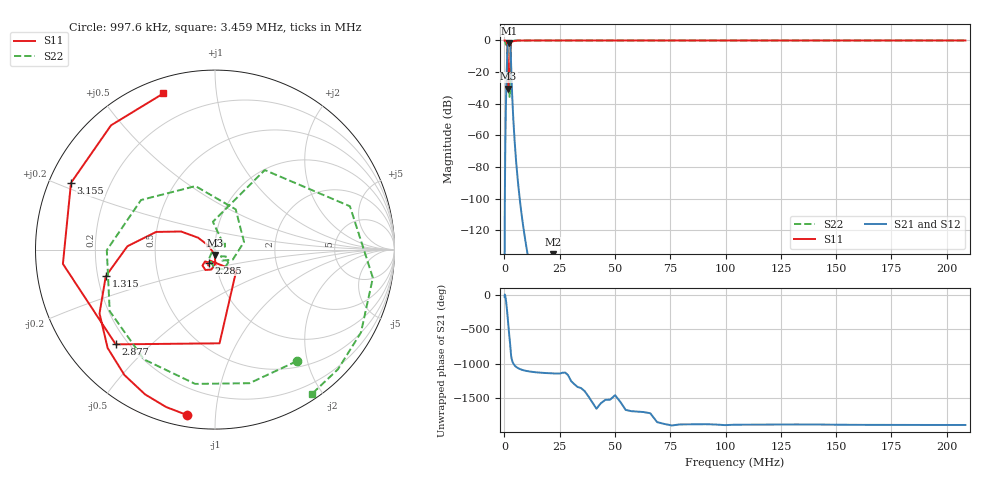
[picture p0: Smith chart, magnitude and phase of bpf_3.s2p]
! NeoRadio BPF 3: 1.7-2.5 MHz, selected in the bank
! generated_by 859cd57
# HZ S RI R 50
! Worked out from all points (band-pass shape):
!   182 points, 50 kHz to 208.4 MHz, reference 50 ohm
!   highest |S21| = -1.61 dB at 2.183 MHz (marker M1); lowest = -198.6 dB at 21.83 MHz (marker M2)
!   |S21| within 3 dB of the highest: 1.363 MHz to 2.723 MHz (1.361 MHz wide, 66.6 % of centre)
!   lowest |S11| = -30.4 dB at 1.734 MHz (marker M3), VSWR 1.06, Z = 49.7 - j2.99 ohm
!   |S11| at or under -10 dB: 1.454 MHz to 2.693 MHz (1.239 MHz wide, 59.8 % of centre)
!   |S22| runs from -35.7 to 0.0 dB; largest |S21 - S12| = 0
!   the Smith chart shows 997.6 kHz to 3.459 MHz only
!   S11 on the Smith chart (normalised r, x): 997.6 kHz: 0.06, -0.84; 1.315 MHz: 0.23, -0.11; 2.285 MHz: 0.93, -0.14; 2.877 MHz: 0.15, -0.39; 3.155 MHz: 0.06, +0.22; 3.459 MHz: 0.07, +0.72
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50000  0.9973 -0.0716  5.74e-08 -3.54e-08  5.74e-08 -3.54e-08  0.9304 -0.3538
208434.7  0.9537 -0.2958  3.11e-05 -9.47e-07  3.11e-05 -9.47e-07  0.0902 -0.9288
477496.3  0.7524 -0.6461  0.00126 -0.00125  0.00126 -0.00125  -0.7899 0.0594
659128.4  0.5181 -0.8347  0.00103 -0.00976  0.00103 -0.00976  -0.1636 0.7154
829793.5  0.2167 -0.9422  -0.0223 -0.0282  -0.0223 -0.0282  0.6709 0.312
997631.2  -0.1578 -0.9209  -0.1042 -0.00329  -0.1042 -0.00329  0.4557 -0.6217
1315134  -0.6085 -0.1482  0.2223 0.4584  0.2223 0.4584  -0.4121 0.2763
1509976  -0.1892 0.1008  0.7061 -0.2693  0.7061 -0.2693  0.1616 0.0428
1733684  -0.0018 -0.03  -0.1641 -0.8034  -0.1641 -0.8034  0.0334 -0.0371
1990536  -0.0531 -0.1135  -0.829 0.0147  -0.829 0.0147  0.0479 -0.1087
2182579  -0.0554 -0.0659  -0.4357 0.7075  -0.4357 0.7075  -0.0328 -0.0504
2285441  -0.0324 -0.0723  -0.000854 0.8271  -0.000854 0.8271  -0.00486 0.0156
2505936  -0.0274 -0.0617  0.7661 0.2339  0.7661 0.2339  0.0544 0.0157
2877200  -0.553 -0.528  -0.2126 -0.208  -0.2126 -0.208  0.7519 0.2414
3154787  -0.8023 0.372  -0.0678 0.0215  -0.0678 0.0215  0.8132 -0.462
3303467  -0.5794 0.6924  -0.0286 0.0228  -0.0286 0.0228  0.6848 -0.667
3459155  -0.287 0.8705  -0.0109 0.0161  -0.0109 0.0161  0.5421 -0.8021
5482391  0.9493 -0.2561  8.52e-05 4.63e-05  8.52e-05 4.63e-05  -0.4274 -0.8994
1.315134e7  -0.3327 -0.941  1.47e-08 -1.28e-08  1.47e-08 -1.28e-08  -0.9044 -0.422
2.182579e7  -0.7306 -0.6802  5.6e-11 -1.04e-10  5.6e-11 -1.04e-10  -0.9643 -0.2573
5.235643e7  -0.9492 -0.3086  -1.88e-12 -4.94e-12  -1.88e-12 -4.94e-12  -0.9922 -0.1078
2.084347e8  -0.9949 -0.0788  9.07e-17 -1.72e-15  9.07e-17 -1.72e-15  -0.9977 -0.0271
